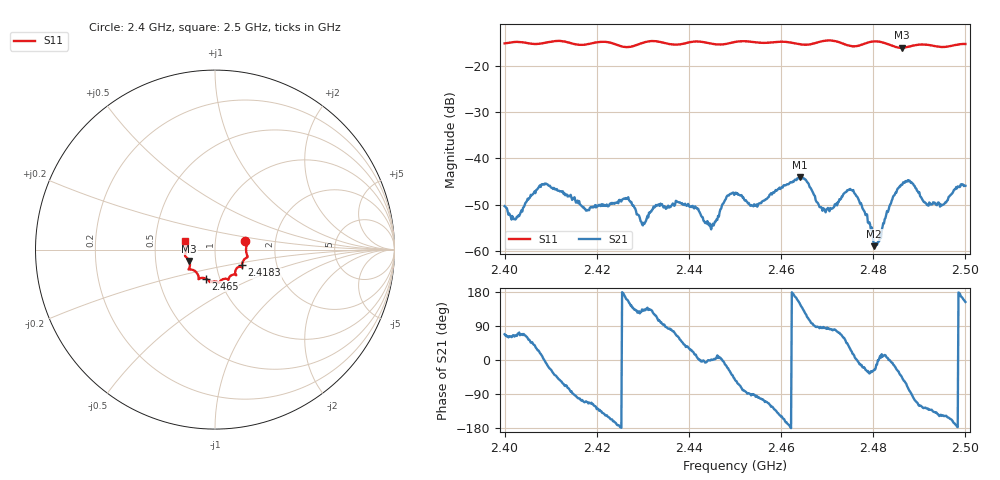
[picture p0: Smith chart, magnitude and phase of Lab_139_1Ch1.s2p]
# Hz S RI R 50
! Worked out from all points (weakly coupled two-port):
!   601 points, 2.4 GHz to 2.5 GHz, reference 50 ohm
!   highest |S21| = -44.09 dB at 2.464 GHz (marker M1); lowest = -59.0 dB at 2.4802 GHz (marker M2)
!   lowest |S11| = -16.1 dB at 2.4862 GHz (marker M3), VSWR 1.37, Z = 37.2 - j4.83 ohm
!   |S11| at or under -10 dB: start of sweep to end of sweep
!   S12 and S22 are empty: the file has one direction only
!   S11 on the Smith chart (normalised r, x): 2.4 GHz: 1.40, +0.14; 2.4183 GHz: 1.33, -0.24; 2.465 GHz: 0.86, -0.28; 2.5 GHz: 0.71, +0.07
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2.4e9  0.1688 0.047  0.00114 0.00281  0 0  0 0
2.4025e9  0.1788 0.0353  0.00093 0.00202  0 0  0 0
2.408667e9  0.1763 -0.0232  0.00533 -0.000112  0 0  0 0
2.416667e9  0.1547 -0.0682  -0.000894 -0.00294  0 0  0 0
2.418333e9  0.15 -0.0868  -0.00104 -0.00254  0 0  0 0
2.426333e9  0.1228 -0.1025  -0.00354 0.00116  0 0  0 0
2.430167e9  0.1144 -0.1379  -0.00129 0.00154  0 0  0 0
2.433333e9  0.1174 -0.141  -0.000774 0.00306  0 0  0 0
2.441167e9  0.0749 -0.1678  0.00276 0.000786  0 0  0 0
2.444833e9  0.0631 -0.1625  0.00171 3.29e-05  0 0  0 0
2.45e9  0.026 -0.18  0.00258 -0.00334  0 0  0 0
2.454333e9  0.0126 -0.1801  -0.000167 -0.00308  0 0  0 0
2.464e9  -0.0428 -0.1664  -0.00542 0.0031  0 0  0 0
2.465e9  -0.0525 -0.1614  -0.0038 0.00472  0 0  0 0
2.466667e9  -0.0711 -0.1576  -0.000528 0.0045  0 0  0 0
2.47e9  -0.0912 -0.1649  0.000214 0.00282  0 0  0 0
2.4755e9  -0.1053 -0.1247  0.00429 0.00128  0 0  0 0
2.480167e9  -0.1473 -0.1109  0.00101 -0.000484  0 0  0 0
2.483333e9  -0.1409 -0.0967  0.00277 -2.45e-06  0 0  0 0
2.486167e9  -0.1438 -0.0634  0.00371 -0.00357  0 0  0 0
2.494833e9  -0.1602 0.00128  -0.00261 -0.00166  0 0  0 0
2.5e9  -0.1664 0.0467  -0.00451 0.00227  0 0  0 0
